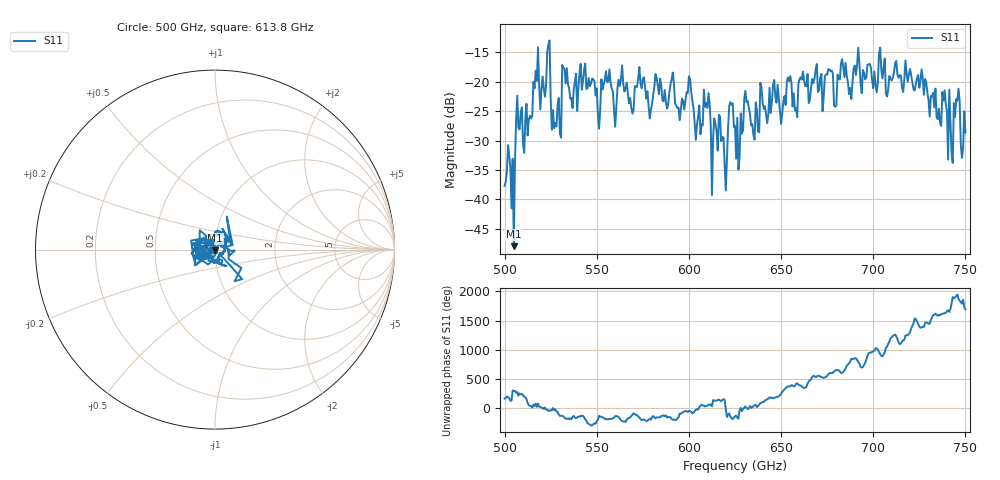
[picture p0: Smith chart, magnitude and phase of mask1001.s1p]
!Created with skrf (http://scikit-rf.org).
# GHz S MA R 50.0
!freq magS11 angS11
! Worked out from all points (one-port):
!   401 points, 500 GHz to 750 GHz, reference 50 ohm
!   lowest |S11| = -47.9 dB at 505 GHz (marker M1), VSWR 1.01, Z = 50.1 - j0.387 ohm
!   |S11| at or under -10 dB: start of sweep to end of sweep
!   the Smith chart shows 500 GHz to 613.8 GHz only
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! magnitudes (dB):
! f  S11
! 500 GHz  -37.7
! 505 GHz  -47.9
! 507.5 GHz  -27.9
! 513.8 GHz  -25.8
! 516.9 GHz  -18.1
! 520.6 GHz  -19.1
! 523.8 GHz  -13.7
! 526.9 GHz  -27.9
! 531.2 GHz  -17.2
! 542.5 GHz  -20.0
! 550.6 GHz  -25.7
! 555.6 GHz  -20.0
! 560 GHz  -27.7
! 562.5 GHz  -20.7
! 568.8 GHz  -24.4
! 590.6 GHz  -19.6
! 593.8 GHz  -24.5
! 609.4 GHz  -23.6
! 619.4 GHz  -34.0
! 622.5 GHz  -23.5
! 625 GHz  -27.5
! 656.2 GHz  -24.2
! 680 GHz  -24.0
! 683.8 GHz  -17.5
! 687.5 GHz  -21.1
! 691.2 GHz  -17.0
! 718.8 GHz  -20.0
! 750 GHz  -28.6
